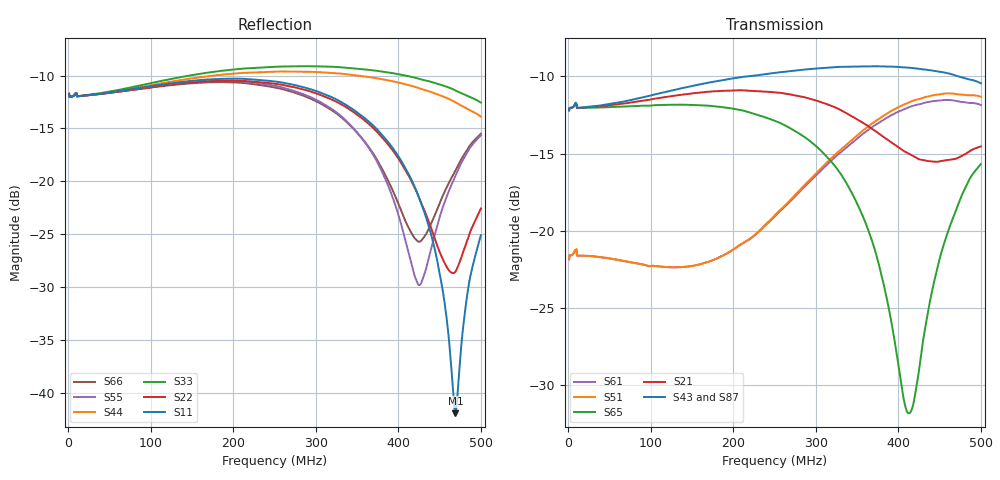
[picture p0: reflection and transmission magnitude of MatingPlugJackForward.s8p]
!Agilent Technologies,M9370A,MY54322275,A.02.50.04
!Agilent M9370A: A.02.50.04
!Date: Friday, April 06, 2018 10:57:07
!Correction: S11(Full 8 Port(1,2,3,4,5,6,7,8))
!S12(Full 8 Port(1,2,3,4,5,6,7,8))
!S13(Full 8 Port(1,2,3,4,5,6,7,8))
!S14(Full 8 Port(1,2,3,4,5,6,7,8))
!S15(Full 8 Port(1,2,3,4,5,6,7,8))
!S16(Full 8 Port(1,2,3,4,5,6,7,8))
!S17(Full 8 Port(1,2,3,4,5,6,7,8))
!S18(Full 8 Port(1,2,3,4,5,6,7,8))
!S21(Full 8 Port(1,2,3,4,5,6,7,8))
!S22(Full 8 Port(1,2,3,4,5,6,7,8))
!S23(Full 8 Port(1,2,3,4,5,6,7,8))
!S24(Full 8 Port(1,2,3,4,5,6,7,8))
!S25(Full 8 Port(1,2,3,4,5,6,7,8))
!S26(Full 8 Port(1,2,3,4,5,6,7,8))
!S27(Full 8 Port(1,2,3,4,5,6,7,8))
!S28(Full 8 Port(1,2,3,4,5,6,7,8))
!S31(Full 8 Port(1,2,3,4,5,6,7,8))
!S32(Full 8 Port(1,2,3,4,5,6,7,8))
!S33(Full 8 Port(1,2,3,4,5,6,7,8))
!S34(Full 8 Port(1,2,3,4,5,6,7,8))
!S35(Full 8 Port(1,2,3,4,5,6,7,8))
!S36(Full 8 Port(1,2,3,4,5,6,7,8))
!S37(Full 8 Port(1,2,3,4,5,6,7,8))
!S38(Full 8 Port(1,2,3,4,5,6,7,8))
!S41(Full 8 Port(1,2,3,4,5,6,7,8))
!S42(Full 8 Port(1,2,3,4,5,6,7,8))
!S43(Full 8 Port(1,2,3,4,5,6,7,8))
!S44(Full 8 Port(1,2,3,4,5,6,7,8))
!S45(Full 8 Port(1,2,3,4,5,6,7,8))
!S46(Full 8 Port(1,2,3,4,5,6,7,8))
!S47(Full 8 Port(1,2,3,4,5,6,7,8))
!S48(Full 8 Port(1,2,3,4,5,6,7,8))
!S51(Full 8 Port(1,2,3,4,5,6,7,8))
!S52(Full 8 Port(1,2,3,4,5,6,7,8))
!S53(Full 8 Port(1,2,3,4,5,6,7,8))
!S54(Full 8 Port(1,2,3,4,5,6,7,8))
!S55(Full 8 Port(1,2,3,4,5,6,7,8))
!S56(Full 8 Port(1,2,3,4,5,6,7,8))
!S57(Full 8 Port(1,2,3,4,5,6,7,8))
!S58(Full 8 Port(1,2,3,4,5,6,7,8))
!S61(Full 8 Port(1,2,3,4,5,6,7,8))
!S62(Full 8 Port(1,2,3,4,5,6,7,8))
!S63(Full 8 Port(1,2,3,4,5,6,7,8))
!S64(Full 8 Port(1,2,3,4,5,6,7,8))
!S65(Full 8 Port(1,2,3,4,5,6,7,8))
!S66(Full 8 Port(1,2,3,4,5,6,7,8))
!S67(Full 8 Port(1,2,3,4,5,6,7,8))
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# Hz S  RI  R 50
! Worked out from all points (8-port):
!   1000 points, 1 MHz to 500 MHz, reference 50 ohm
!   strongest paths, dB at 1 MHz, 125.9 MHz, 250.7 MHz, 375.6 MHz, 500 MHz:
!     S43: -12.2, -10.9, -9.8, -9.4, -10.4
!     S87: -12.2, -11.0, -9.9, -9.4, -10.5
!     S21: -12.2, -11.3, -11.0, -13.7, -14.5
!     S65: -12.2, -11.8, -12.9, -22.0, -15.7
!     S51: -21.8, -22.4, -19.0, -12.8, -11.3
!     S61: -21.9, -22.4, -19.0, -13.0, -11.9
!   lowest |S11| = -42.0 dB at 469 MHz (marker M1), VSWR 1.02, Z = 50.8 + j0.0385 ohm
!   |S11| at or under -10 dB: start of sweep to end of sweep
